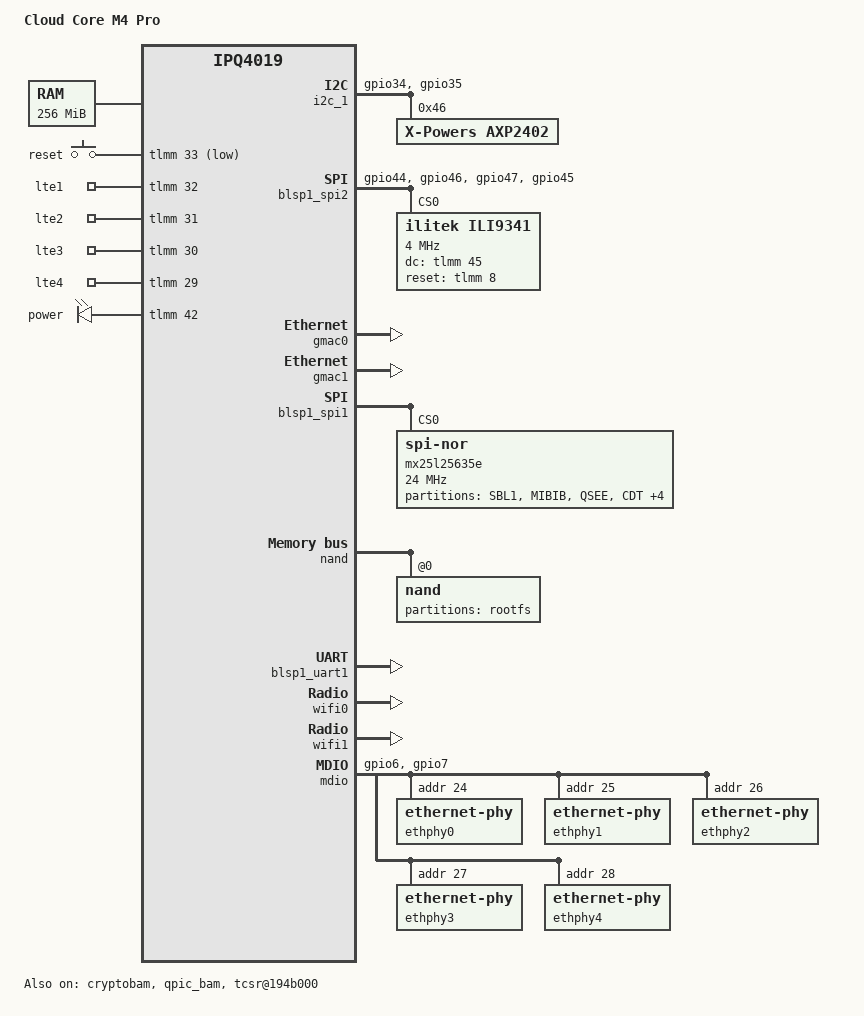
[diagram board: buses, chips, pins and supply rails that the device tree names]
/* Copyright (c) 2015, The Linux Foundation. All rights reserved.
 *
 * Permission to use, copy, modify, and/or distribute this software for any
 * purpose with or without fee is hereby granted, provided that the above
 * copyright notice and this permission notice appear in all copies.
 *
 * THE SOFTWARE IS PROVIDED "AS IS" AND THE AUTHOR DISCLAIMS ALL WARRANTIES
 * WITH REGARD TO THIS SOFTWARE INCLUDING ALL IMPLIED WARRANTIES OF
 * MERCHANTABILITY AND FITNESS. IN NO EVENT SHALL THE AUTHOR BE LIABLE FOR
 * ANY SPECIAL, DIRECT, INDIRECT, OR CONSEQUENTIAL DAMAGES OR ANY DAMAGES
 * WHATSOEVER RESULTING FROM LOSS OF USE, DATA OR PROFITS, WHETHER IN AN
 * ACTION OF CONTRACT, NEGLIGENCE OR OTHER TORTIOUS ACTION, ARISING OUT OF
 * OR IN CONNECTION WITH THE USE OR PERFORMANCE OF THIS SOFTWARE.
 *
 */

#include "qcom-ipq4019-ap.dk04.1.dtsi"
#include <dt-bindings/soc/qcom,tcsr.h>
#include <dt-bindings/input/input.h>

/ {
	model = "Cloud Core M4 Pro";
	compatible = "m4pro";
	chosen {
		// bootargs-append = " root=ubi0:rootfs rootfstype=ubifs";
	bootargs-append = " root=/dev/ubiblock0_1 rootfstype=squashfs  vt.global_cursor_default=0";
	};
	memory {
		device_type = "memory";
		reg = <0x80000000 0x10000000>;
	};
	soc {

		i2c_1: i2c@78b8000 { /* BLSP1 QUP2 */
			pinctrl-0 = <&i2c_1_pins>;
			pinctrl-names = "default";

			status = "okay";
		};

			blsp1_spi2: spi@78b6000 { /* BLSP1 QUP2 */
			compatible = "qcom,spi-qup-v2.2.1";
			reg = <0x78b6000 0x600>;
			interrupts = <GIC_SPI 96 IRQ_TYPE_LEVEL_HIGH>;
			clocks = <&gcc GCC_BLSP1_QUP2_SPI_APPS_CLK>,
				<&gcc GCC_BLSP1_AHB_CLK>;
			clock-names = "core", "iface";
			#address-cells = <1>;
			#size-cells = <0>;
			dmas = <&blsp_dma 7>, <&blsp_dma 6>;
			dma-names = "rx", "tx";
			status = "disabled";
		};

		counter@4a1000 {
			compatible = "qcom, qca-gcnt";
			reg = <0x4a1000 0x4>;
		};
		tcsr@1949000 {
			compatible = "qcom,tcsr";
			reg = <0x1949000 0x100>;
			qcom,wifi_glb_cfg = <TCSR_WIFI_GLB_CFG>;
		};

		tcsr@194b000 {
			compatible = "qcom,tcsr";
			reg = <0x194b000 0x100>;
			qcom,usb-hsphy-mode-select = <TCSR_USB_HSPHY_HOST_MODE>;
			status = "okay";
		};

		ess_tcsr@1953000 {
			compatible = "qcom,tcsr";
			reg = <0x1953000 0x1000>;
			qcom,ess-interface-select = <TCSR_ESS_PSGMII>;
		};


		tcsr@1957000 {
			compatible = "qcom,tcsr";
			reg = <0x1957000 0x100>;
			qcom,wifi_noc_memtype_m0_m2 = <TCSR_WIFI_NOC_MEMTYPE_M0_M2>;
		};
				ess-psgmii@98000 {
			status = "okay";
		};

		ess-switch@c000000 {
			status = "okay";
			switch_lan_bmp = <0x3c>; /* lan port bitmap */
			switch_wan_bmp = <0x2>; /* wan port bitmap */
		};

		keys {
			compatible = "gpio-keys";
			reset {
				label = "reset";
				gpios = <&tlmm 33 GPIO_ACTIVE_LOW>;
				linux,code = <KEY_RESTART>;
			};
		};

		gpio-export {
			compatible = "gpio-export";

			lte1 {
				label = "lte1";
				gpio-export,name = "lte1";
				gpio-export,output = <1>;
				gpios = <&tlmm 32 GPIO_ACTIVE_HIGH>;
			};

			lte2 {
				label = "lte2";
				gpio-export,name = "lte2";
				gpio-export,output = <1>;
				gpios = <&tlmm 31 GPIO_ACTIVE_HIGH>;
			};
			lte3 {
				label = "lte3";
				gpio-export,name = "lte3";
				gpio-export,output = <1>;
				gpios = <&tlmm 30 GPIO_ACTIVE_HIGH>;
			};

			lte4 {
				label = "lte4";
				gpio-export,name = "lte4";
				gpio-export,output = <1>;
				gpios = <&tlmm 29 GPIO_ACTIVE_HIGH>;
			};
		};

		leds {
		compatible = "gpio-leds";
		pinctrl-0 = <&led_pins>;
		pinctrl-names = "default";

		power: power {
			label = "power";
			gpios = <&tlmm 42 GPIO_ACTIVE_HIGH>;
		};

	};
		edma@c080000 {
			status = "okay";

			gmac0 {
				qcom,poll_required_dynamic = <1>;
				vlan_tag = <1 0x3c>;
				status = "okay";
			};
			gmac1 {
				qcom,phy_mdio_addr =  <0x18>;
				qcom,poll_required = <1>;
				qcom,poll_required_dynamic = <1>;
				qcom,forced_speed = <1000>;
				qcom,forced_duplex = <1>;
				vlan_tag = <2 0x2>;
				status = "okay";
			};
		};
	};
};

&i2c_1{
	pinctrl-0 = <&i2c_1_pins>;
	pinctrl-names = "default";
	status = "okay";
		
	axp2402@46{
		compatible = "X-Powers, axp2402";
		reg = <0x46>;
		status = "okay";

		axp2402-charger{
			compatible = "X-Powers, axp2402-charger";
			irqpin-gpios = <&tlmm 18 GPIO_ACTIVE_LOW>;
			ichg_cc = <1536>;			//最大充电电流
			idpm = <3072>;				//最大输入电流
			chg_target_voltage = <8440>;	//电池电压
			vsys_min=<5400>;         //设置放电保护电压
			battery_max_capacity = <8000>;	//电池最大容量
			status = "okay";
		};
	};
};

&blsp1_spi2 {
	status = "okay";
	pinctrl-0 = <&fbtft_pins>;
	pinctrl-names = "default";
//	cs-gpios = <&tlmm 45 0>;

	ili9341@0 {
		compatible = "ilitek,ili9341";
		reg = <0>;
		spi-max-frequency = <4000000>;
		rotate = <90>;
		bgr;
		fps = <10>;
		buswidth = <8>;
		dc-gpios = <&tlmm 45 GPIO_ACTIVE_HIGH>;
		// dc = <&tlmm 45 GPIO_ACTIVE_LOW>;
		reset-gpios = <&tlmm 8 GPIO_ACTIVE_HIGH>;
		debug = <0>;
	};	
};

&blsp1_spi1{
	status = "okay";
	mx25l25635e@0 {
		reg = <0>;
		compatible = "jedec,spi-nor";
		spi-max-frequency = <24000000>;

		partitions {
			compatible = "fixed-partitions";
			#address-cells = <1>;
			#size-cells = <1>;

			partition@0 {
				label = "SBL1";
				reg = <0x0 0x40000>;
				read-only;
			};
			partition@40000 {
				label = "MIBIB";
				reg = <0x40000 0x20000>;
				read-only;
			};
			partition@60000 {
				label = "QSEE";
				reg = <0x60000 0x60000>;
				read-only;
			};
			partition@c0000 {
				label = "CDT";
				reg = <0xc0000 0x10000>;
				read-only;
			};
			partition@d0000 {
				label = "DDRPARAMS";
				reg = <0xd0000 0x10000>;
				read-only;
			};
			partition@e0000 {
				label = "APPSBLENV";
				reg = <0xe0000 0x10000>;
				// read-only;
			};
			partition@f0000 {
				label = "APPSBL";
				reg = <0xf0000 0x80000>;
				read-only;
			};
			partition@170000 {
				label = "ART";
				reg = <0x170000 0x10000>;
				//read-only;
			};
		};
	};

};

&blsp_dma {
	status = "okay";
};

&cryptobam {
	status = "okay";
};

&nand{
	status = "okay";
	nand@0 {
		partitions {
			compatible = "fixed-partitions";
			#address-cells = <1>;
			#size-cells = <1>;
			partition@0 {
				label = "rootfs";
				reg = <0x0 0x4000000>;
			};
		};
	};

};
&qpic_bam {
	status = "okay";
};

&blsp1_uart1 {
	status = "okay";
};

&wifi0 {
	status = "okay";
	qcom,ath10k-calibration-variant = "CM520-79F";
};

&wifi1 {
	status = "okay";
	qcom,ath10k-calibration-variant = "CM520-79F";
};

&tlmm {

	i2c_1_pins: i2c_1_pinmux {
				pinmux {
					function = "blsp_i2c1";
					pins = "gpio34", "gpio35";
				};
				pinconf {
					pins = "gpio34", "gpio35";
					drive-strength = <16>;
					bias-disable;
				};
			};

	fbtft_pins: spi_1_pinmux {
		pinmux {
			function = "blsp_spi1";
			pins = "gpio44", "gpio46", "gpio47";
			bias-disable;
		};
		pinmux_cs {
			function = "gpio";
			pins = "gpio45";
			bias-pull-down;
			output-low;
		};
	};

	mdio_pins: mdio_pinmux {
		mux_1 {
			pins = "gpio6";
			function = "mdio";
			bias-pull-up;
		};
		mux_2 {
			pins = "gpio7";
			function = "mdc";
			bias-pull-up;
		};
	};

	led_pins: led_pinmux {
		mux {
			pins =  "gpio42";
			drive-strength = <0x8>;
			bias-disable;
			output-high;
		};
	};
};

&mdio {
	pinctrl-0 = <&mdio_pins>;
	pinctrl-names = "default";
	phy-reset-gpio = <&tlmm 49 GPIO_ACTIVE_HIGH>;
	status = "okay";
	
	mii_id_offset = <0x18>;
	mii_id_offset_limit = <0x5>;

	ethphy0: ethernet-phy@0 {
		reg = <0x18>;
	};

	ethphy1: ethernet-phy@1 {
		reg = <0x19>;
	};

	ethphy2: ethernet-phy@2 {
		reg = <0x1a>;
	};

	ethphy3: ethernet-phy@3 {
		reg = <0x1b>;
	};

	ethphy4: ethernet-phy@4 {
		reg = <0x1c>;
	};
};


